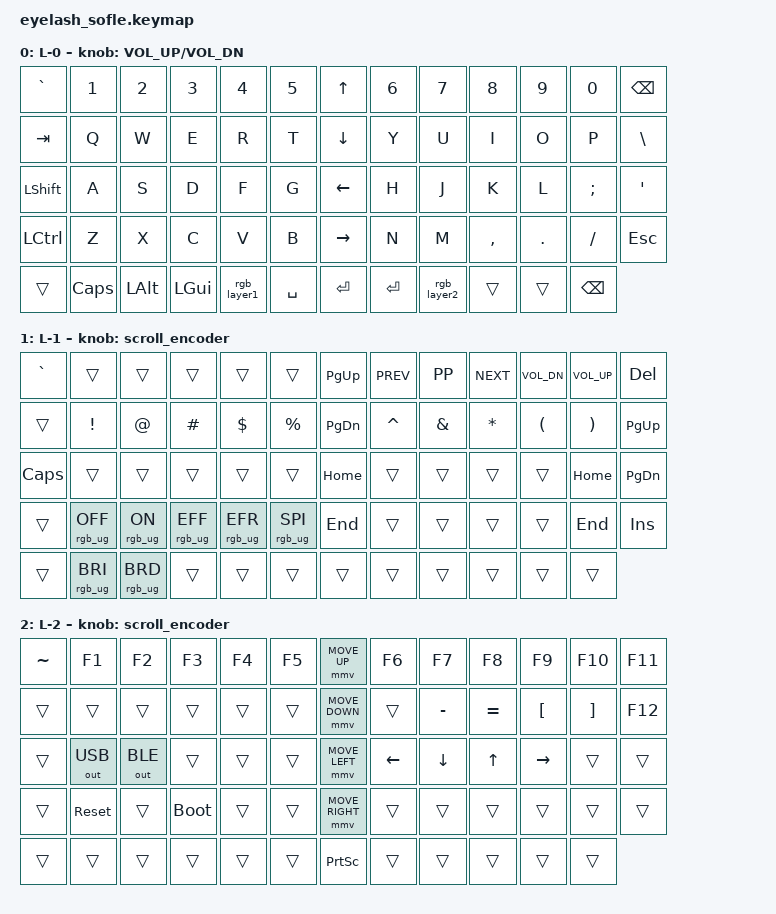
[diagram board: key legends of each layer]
#define ZMK_POINTING_DEFAULT_MOVE_VAL 1200  // 600
#define ZMK_POINTING_DEFAULT_SCRL_VAL 25   // 10

#include <input/processors.dtsi>
#include <zephyr/dt-bindings/input/input-event-codes.h>
#include <behaviors.dtsi>
#include <dt-bindings/zmk/bt.h>
#include <dt-bindings/zmk/ext_power.h>
#include <dt-bindings/zmk/keys.h>
#include <dt-bindings/zmk/pointing.h>
#include <dt-bindings/zmk/rgb.h>
#include <dt-bindings/zmk/outputs.h>

&mmv_input_listener { input-processors = <&zip_xy_scaler 2 1>; };

&msc_input_listener { input-processors = <&zip_scroll_scaler 2 1>; };

&msc {
    acceleration-exponent = <1>;      // 0
    time-to-max-speed-ms = <100>;       // 300
    delay-ms = <0>;                   // 0
};

&mmv {
    time-to-max-speed-ms = <500>;
    acceleration-exponent = <1>;
    trigger-period-ms = <16>;
};


/ {

    scroll_encoder: scroll_encoder {
        compatible = "zmk,behavior-sensor-rotate";
        #sensor-binding-cells = <0>;
        bindings = <&msc SCRL_DOWN>, <&msc SCRL_UP>;
        tap-ms = <100>;
    };

    macros {
        ZMK_MACRO(rgb_layer1,
            wait-ms = <0>;
            tap-ms = <0>;
            bindings
                = <&macro_press &mo 1>
                , <&macro_tap &rgb_ug RGB_COLOR_HSB(60,100,10)>
                , <&macro_pause_for_release>
                , <&macro_release &mo 1>
                , <&macro_tap &rgb_ug RGB_COLOR_HSB(128,100,10)>
            ;
        )

        ZMK_MACRO(rgb_layer2,
            wait-ms = <0>;
            tap-ms = <0>;
            bindings
                = <&macro_press &mo 2>
                , <&macro_tap &rgb_ug RGB_COLOR_HSB(220,100,10)>
                , <&macro_pause_for_release>
                , <&macro_release &mo 2>
                , <&macro_tap &rgb_ug RGB_COLOR_HSB(128,100,10)>
            ;
        )
    };

    keymap {
        compatible = "zmk,keymap";
        layer0 {
            bindings = <
                &kp GRAVE  &kp N1           &kp N2           &kp N3           &kp N4          &kp N5                 &kp UP_ARROW        &kp N6      &kp N7          &kp N8          &kp N9        &kp N0           &kp BACKSPACE
                &kp TAB    &kp Q            &kp W            &kp E            &kp R           &kp T                  &kp DOWN_ARROW      &kp Y       &kp U           &kp I           &kp O         &kp P            &kp BSLH
                &kp LSHFT  &kp A            &kp S            &kp D            &kp F           &kp G                  &kp LEFT_ARROW      &kp H       &kp J           &kp K           &kp L         &kp SEMI         &kp SQT
                &kp LCTRL  &kp Z            &kp X            &kp C            &kp V           &kp B                  &kp RIGHT_ARROW     &kp N       &kp M           &kp COMMA       &kp DOT       &kp FSLH         &kp ESC
                &trans     &kp CAPS         &kp LALT         &kp LEFT_GUI     &rgb_layer1     &kp SPACE              &kp ENTER           &kp ENTER   &rgb_layer2     &trans          &trans        &kp BACKSPACE
            >;
            sensor-bindings = <&inc_dec_kp C_VOLUME_UP C_VOL_DN>;
            display-name = "L-0";
        };

        layer_1 {
            bindings = <
                &kp GRAVE  &trans           &trans           &trans           &trans           &trans                &kp PG_UP           &kp K_PREV  &kp K_PP        &kp K_NEXT      &kp K_VOL_DN  &kp K_VOL_UP     &kp DELETE
                &trans     &kp EXCL         &kp AT           &kp HASH         &kp DLLR         &kp PRCNT             &kp PG_DN           &kp CARET   &kp AMPS        &kp ASTRK       &kp LPAR      &kp RPAR         &kp PG_UP
                &kp CAPS   &trans           &trans           &trans           &trans           &trans                &kp HOME            &trans      &trans          &trans          &trans        &kp HOME         &kp PG_DN
                &trans     &rgb_ug RGB_OFF  &rgb_ug RGB_ON   &rgb_ug RGB_EFF  &rgb_ug RGB_EFR  &rgb_ug RGB_SPI       &kp END             &trans      &trans          &trans          &trans        &kp END          &kp INS
                &trans     &rgb_ug RGB_BRI  &rgb_ug RGB_BRD  &trans           &trans           &trans                &trans              &trans      &trans          &trans          &trans        &trans
            >;
            display-name = "L-1";
            sensor-bindings = <&scroll_encoder>;
        };

        layer_2 {
            bindings = <
                &kp TILDE  &kp F1           &kp F2           &kp F3           &kp F4           &kp F5                &mmv MOVE_UP        &kp F6      &kp F7          &kp F8          &kp F9        &kp F10          &kp F11
                &trans     &trans           &trans           &trans           &trans           &trans                &mmv MOVE_DOWN      &trans      &kp MINUS       &kp EQUAL       &kp LBKT      &kp RBKT         &kp F12
                &trans     &out OUT_USB     &out OUT_BLE     &trans           &trans           &trans                &mmv MOVE_LEFT      &kp LEFT    &kp DOWN        &kp UP          &kp RIGHT     &trans           &trans
                &trans     &sys_reset       &trans           &bootloader      &trans           &trans                &mmv MOVE_RIGHT     &trans      &trans          &trans          &trans        &trans           &trans
                &trans     &trans           &trans           &trans           &trans           &trans                &kp  PSCRN          &trans      &trans          &trans          &trans        &trans
            >;
            display-name = "L-2";
            sensor-bindings = <&scroll_encoder>;
        };
    };
};
